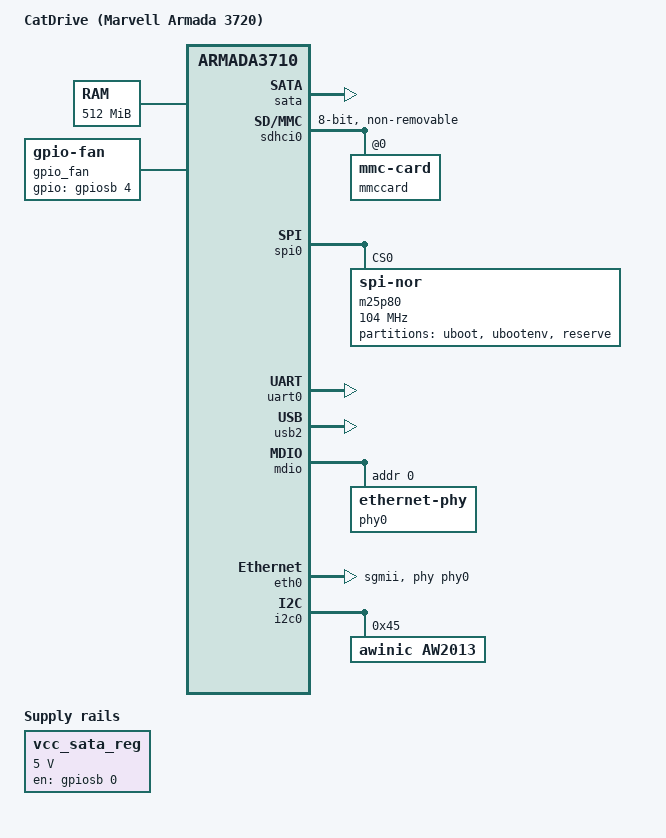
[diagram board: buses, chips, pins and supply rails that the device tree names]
// SPDX-License-Identifier: (GPL-2.0+ OR MIT)
/*
 * Device tree for CatDrive "小猫盘"
 * Marvell Armada 3720, 512MB DDR3, 8GB eMMC, 1x GbE (88E1512), 1x SATA
 *
 * DTS 取自 hanwckf 的 linux-marvell 猫盘适配，保持与 18.06 固件一致。
 *
 * 2026-10-29 修正：eMMC 段落原挂在 &sdhci1（sdhci@d0000，SD 卡槽控制器），
 * 而 Armada 3720 的 eMMC 实际接在 &sdhci0（sdhci@d8000，引脚组 emmc_nb）。
 * 挂错节点时内核只会探测到空的 d0000 控制器、看不到 mmcblk0，
 * 启动必然卡在 "Waiting for root device PARTUUID=...-02"。
 * 已在实机验证：改为 &sdhci0 后 mmcblk0/p1/p2 正常出现，rootfs 正常挂载。
 */

/dts-v1/;

#include <dt-bindings/gpio/gpio.h>
#include "armada-372x.dtsi"

/ {
	model = "CatDrive (Marvell Armada 3720)";
	compatible = "marvell,catdrive", "marvell,armada3720", "marvell,armada3710";

	chosen {
		stdout-path = "serial0:115200n8";
	};

	memory@0 {
		device_type = "memory";
		reg = <0x00000000 0x00000000 0x00000000 0x20000000>;
	};

	vcc_sata_reg: regulator-sata {
		compatible = "regulator-fixed";
		regulator-name = "vcc_sata";
		regulator-min-microvolt = <5000000>;
		regulator-max-microvolt = <5000000>;
		regulator-boot-on;
		regulator-always-on;
		enable-active-high;
		gpio = <&gpiosb 0 GPIO_ACTIVE_HIGH>;
	};

	gpio_fan {
		compatible = "gpio-fan";
		gpios = <&gpiosb 4 GPIO_ACTIVE_HIGH>;
		gpio-fan,speed-map = <0    0
		                      1000 1>;
	};
};

&sata {
	status = "okay";
};

&sdhci0 {
	non-removable;
	bus-width = <8>;
	mmc-ddr-1_8v;
	mmc-hs200-1_8v;
	marvell,pad-type = "fixed-1-8v";
	pinctrl-names = "default";
	pinctrl-0 = <&mmc_pins>;
	status = "okay";

	#address-cells = <1>;
	#size-cells = <0>;

	mmccard: mmccard@0 {
		compatible = "mmc-card";
		reg = <0>;
	};
};

&spi0 {
	status = "okay";

	m25p80@0 {
		reg = <0>;
		compatible = "jedec,spi-nor";
		spi-max-frequency = <104000000>;
		m25p,fast-read;
		status = "okay";

		partitions {
			compatible = "fixed-partitions";
			#address-cells = <1>;
			#size-cells = <1>;

			partition@0 {
				label = "uboot";
				reg = <0 0x1f0000>;
				read-only;
			};

			partition@1f0000 {
				label = "ubootenv";
				reg = <0x1f0000 0x10000>;
			};

			partition@200000 {
				label = "reserve";
				reg = <0x200000 0x600000>;
			};
		};
	};
};

&uart0 {
	pinctrl-names = "default";
	pinctrl-0 = <&uart1_pins>;
	status = "okay";
};

&usb2 {
	status = "okay";
};

&mdio {
	status = "okay";

	phy0: ethernet-phy@0 {
		reg = <0>;
		marvell,reg-init = <0x01 0x1A 0x0 0x47>;
	};
};


/*
 * 2026-10-30 修正：comphy 驱动会通过 ATF 的 SMC 重新配置 SerDes，
 * 而本机 ATF 接受调用却把 U-Boot 已配好的 SGMII 状态改坏，
 * 结果是链路 up、但收发全零（5.15 / 6.6 均如此，4.14 无此驱动故正常）。
 * 这里禁用 comphy，让内核完全不碰 SerDes，保持 U-Boot 的配置。
 */
&comphy {
	status = "disabled";
};

&eth0 {
	phy-mode = "sgmii";
	phy = <&phy0>;
	status = "okay";
};

&i2c0 {
	pinctrl-names = "default";
	pinctrl-0 = <&i2c1_pins>;
	status = "okay";

	aw2013@45 {
		compatible = "awinic,aw2013";
		reg = <0x45>;

		aw2013,red {
			aw2013,name = "red";
			aw2013,id = <0>;
			aw2013,max-brightness = <255>;
			aw2013,max-current = <3>;
			aw2013,rise-time-ms = <2>;
			aw2013,hold-time-ms = <1>;
			aw2013,fall-time-ms = <2>;
			aw2013,off-time-ms = <1>;
		};

		aw2013,green {
			aw2013,name = "green";
			aw2013,id = <1>;
			aw2013,max-brightness = <255>;
			aw2013,max-current = <3>;
			aw2013,rise-time-ms = <2>;
			aw2013,hold-time-ms = <1>;
			aw2013,fall-time-ms = <2>;
			aw2013,off-time-ms = <1>;
			default-state = "on";
		};

		aw2013,blue {
			aw2013,name = "blue";
			aw2013,id = <2>;
			aw2013,max-brightness = <255>;
			aw2013,max-current = <3>;
			aw2013,rise-time-ms = <2>;
			aw2013,hold-time-ms = <1>;
			aw2013,fall-time-ms = <2>;
			aw2013,off-time-ms = <1>;
		};
	};
};
